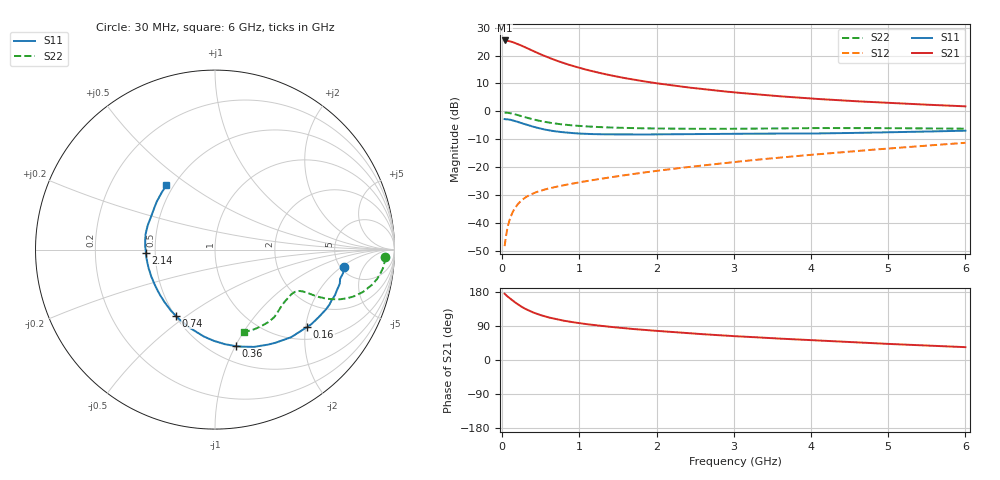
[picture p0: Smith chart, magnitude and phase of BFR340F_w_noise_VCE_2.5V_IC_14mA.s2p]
! Infineon Technologies  Discrete & RF Semiconductors
! BFR340F
! VCE =  2.5 V,  IC =  14 mA
! Common Emitter S-Parameters:  Nov 2015
# GHz  S  MA  R  50
!  f  S11  S21  S12  S22
! GHz  MAG  ANG  MAG  ANG  MAG  ANG  MAG  ANG
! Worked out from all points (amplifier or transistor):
!   206 points, 30 MHz to 6 GHz, reference 50 ohm
!   highest |S21| = 25.4 dB at 30 MHz (marker M1)
!   |S21| within 3 dB of that: start of sweep to 338.9 MHz
!   unconditionally stable (mu >= 1): 1.224 GHz to 4.939 GHz
!   at 200 MHz: K = 0.29, MSG = 28.8 dB, |S12| = -33.4 dB
!   at 1.56 GHz: K = 1.08, MAG = 15.8 dB, |S12| = -23.0 dB
!   at 6 GHz: K = 0.93, MSG = 6.5 dB, |S12| = -11.3 dB
!   lowest NFmin = 1.79 dB at 450 MHz
!   S11 on the Smith chart (normalised r, x): 30 MHz: 5.33, -2.21; 160 MHz: 1.30, -2.04; 360 MHz: 0.65, -1.00; 740 MHz: 0.50, -0.45; 2.14 GHz: 0.44, -0.02; 6 GHz: 0.46, +0.41
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0.03  0.7252 -7.8  18.69 174.8  0.0038 86.2  0.9502 -2.5
0.05  0.7159 -13.1  18.48 170.6  0.006 82.3  0.9469 -4.4
0.07  0.716 -18.4  18.42 167.3  0.0084 81.8  0.9414 -6.3
0.1  0.7075 -25.8  17.93 162.3  0.0118 77.6  0.927 -8.9
0.16  0.6701 -40.0  16.93 152.8  0.0179 72.1  0.887 -13.4
0.2  0.6468 -49.0  16.16 147.0  0.0215 69.0  0.8571 -16.0
0.26  0.6068 -60.7  14.87 139.3  0.0259 64.9  0.8111 -18.9
0.3  0.5841 -68.1  14.02 134.8  0.0285 62.7  0.7813 -20.4
0.36  0.5497 -77.9  12.82 129.0  0.0318 60.5  0.7409 -22.0
0.44  0.512 -89.4  11.4 122.4  0.0354 58.4  0.6953 -23.3
0.5  0.4884 -97.2  10.48 118.2  0.0377 57.5  0.6663 -24.0
0.6  0.4575 -108.3  9.188 112.3  0.0412 56.9  0.6283 -24.6
0.74  0.4281 -120.8  7.797 106.1  0.0455 57.1  0.5904 -24.9
0.9  0.4076 -132.8  6.598 100.2  0.0502 58.1  0.5598 -25.2
1.04  0.3965 -141.0  5.823 96.1  0.0544 59.5  0.5416 -25.5
1.5  0.3837 -160.8  4.163 85.4  0.0686 63.7  0.507 -27.5
2.02  0.385 -174.8  3.158 76.5  0.086 67.5  0.4916 -31.1
2.14  0.386 -177.5  2.993 74.8  0.0903 68.3  0.4897 -32.1
3.1  0.3963 166.0  2.129 62.0  0.1269 71.9  0.4869 -41.1
4.1  0.4011 152.1  1.662 51.3  0.1704 73.2  0.5006 -49.8
5.1  0.4228 139.0  1.396 41.7  0.22 72.6  0.4974 -60.1
6  0.4491 127.2  1.228 33.9  0.2721 70.7  0.4875 -70.5
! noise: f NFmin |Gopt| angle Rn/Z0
0.45  1.79  0.09  -8  0.25
0.9  2.09  0.07  -2  0.32
1.9  3.08  0.16  -130  0.4
2.4  3.64  0.25  -138  0.37
